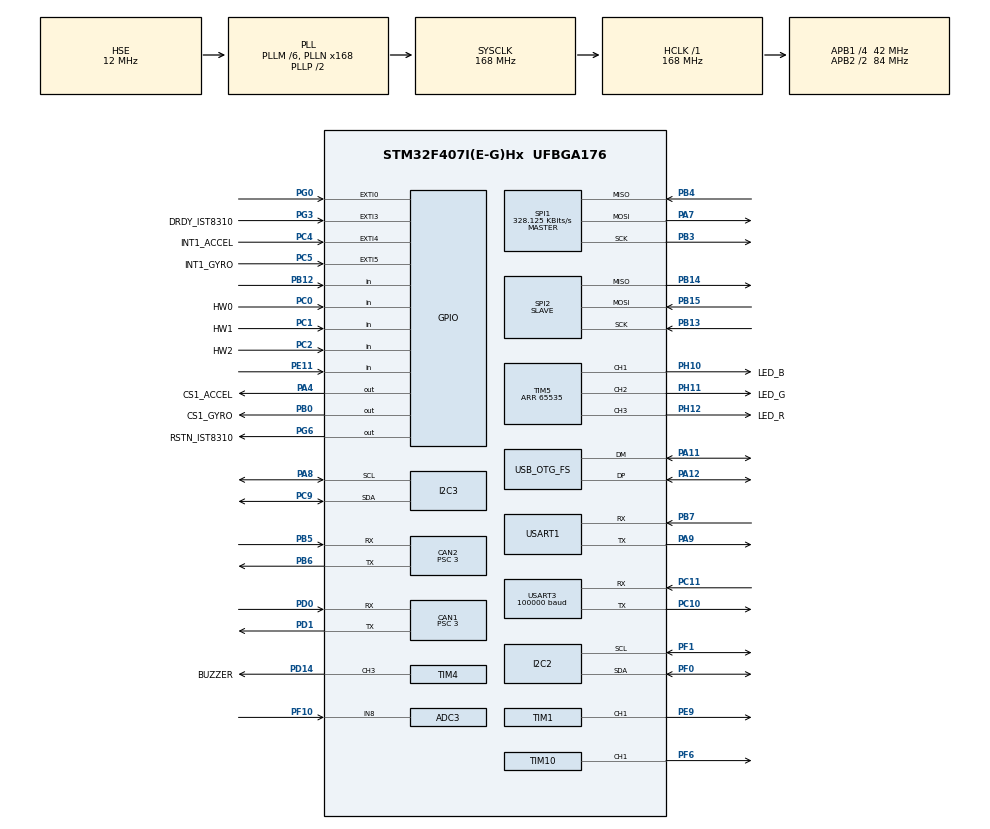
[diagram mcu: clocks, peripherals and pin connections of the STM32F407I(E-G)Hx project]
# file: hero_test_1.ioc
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ADC1.Channel-0\#ChannelRegularConversion=ADC_CHANNEL_TEMPSENSOR
ADC1.ClockPrescaler=ADC_CLOCK_SYNC_PCLK_DIV6
ADC1.NbrOfConversionFlag=1
ADC1.Rank-0\#ChannelRegularConversion=1
ADC1.SamplingTime-0\#ChannelRegularConversion=ADC_SAMPLETIME_3CYCLES
ADC1.master=1
ADC3.Channel-0\#ChannelRegularConversion=ADC_CHANNEL_8
ADC3.ClockPrescaler=ADC_CLOCK_SYNC_PCLK_DIV6
ADC3.NbrOfConversionFlag=1
ADC3.Rank-0\#ChannelRegularConversion=1
ADC3.SamplingTime-0\#ChannelRegularConversion=ADC_SAMPLETIME_3CYCLES
CAN1.BS1=CAN_BS1_10TQ
CAN1.BS2=CAN_BS2_3TQ
CAN1.CalculateBaudRate=1000000
CAN1.CalculateTimeBit=1000
CAN1.CalculateTimeQuantum=71.42857142857143
CAN1.Prescaler=3
CAN2.BS1=CAN_BS1_10TQ
CAN2.BS2=CAN_BS2_3TQ
CAN2.CalculateBaudRate=1000000
CAN2.CalculateTimeBit=1000
CAN2.CalculateTimeQuantum=71.42857142857143
CAN2.Prescaler=3
Dma.Request0=USART3_RX
Dma.Request1=SPI1_RX
Dma.Request2=SPI1_TX
Dma.Request3=USART1_RX
Dma.Request4=USART1_TX
Dma.SPI1_RX.1.Direction=DMA_PERIPH_TO_MEMORY
Dma.SPI1_RX.1.FIFOMode=DMA_FIFOMODE_DISABLE
Dma.SPI1_RX.1.Instance=DMA2_Stream2
Dma.SPI1_RX.1.MemDataAlignment=DMA_MDATAALIGN_BYTE
Dma.SPI1_RX.1.MemInc=DMA_MINC_ENABLE
Dma.SPI1_RX.1.Mode=DMA_NORMAL
Dma.SPI1_RX.1.PeriphDataAlignment=DMA_PDATAALIGN_BYTE
Dma.SPI1_RX.1.PeriphInc=DMA_PINC_DISABLE
Dma.SPI1_RX.1.Priority=DMA_PRIORITY_VERY_HIGH
Dma.SPI1_TX.2.Direction=DMA_MEMORY_TO_PERIPH
Dma.SPI1_TX.2.FIFOMode=DMA_FIFOMODE_DISABLE
Dma.SPI1_TX.2.Instance=DMA2_Stream3
Dma.SPI1_TX.2.MemDataAlignment=DMA_MDATAALIGN_BYTE
Dma.SPI1_TX.2.MemInc=DMA_MINC_ENABLE
Dma.SPI1_TX.2.Mode=DMA_NORMAL
Dma.SPI1_TX.2.PeriphDataAlignment=DMA_PDATAALIGN_BYTE
Dma.SPI1_TX.2.PeriphInc=DMA_PINC_DISABLE
Dma.SPI1_TX.2.Priority=DMA_PRIORITY_HIGH
Dma.USART1_RX.3.Direction=DMA_PERIPH_TO_MEMORY
Dma.USART1_RX.3.FIFOMode=DMA_FIFOMODE_DISABLE
Dma.USART1_RX.3.Instance=DMA2_Stream5
Dma.USART1_RX.3.MemDataAlignment=DMA_MDATAALIGN_BYTE
Dma.USART1_RX.3.MemInc=DMA_MINC_ENABLE
Dma.USART1_RX.3.Mode=DMA_NORMAL
Dma.USART1_RX.3.PeriphDataAlignment=DMA_PDATAALIGN_BYTE
Dma.USART1_RX.3.PeriphInc=DMA_PINC_DISABLE
Dma.USART1_RX.3.Priority=DMA_PRIORITY_LOW
Dma.USART1_TX.4.Direction=DMA_MEMORY_TO_PERIPH
Dma.USART1_TX.4.FIFOMode=DMA_FIFOMODE_DISABLE
Dma.USART1_TX.4.Instance=DMA2_Stream7
Dma.USART1_TX.4.MemDataAlignment=DMA_MDATAALIGN_BYTE
Dma.USART1_TX.4.MemInc=DMA_MINC_ENABLE
Dma.USART1_TX.4.Mode=DMA_NORMAL
Dma.USART1_TX.4.PeriphDataAlignment=DMA_PDATAALIGN_BYTE
Dma.USART1_TX.4.PeriphInc=DMA_PINC_DISABLE
Dma.USART1_TX.4.Priority=DMA_PRIORITY_LOW
Dma.USART3_RX.0.Direction=DMA_PERIPH_TO_MEMORY
Dma.USART3_RX.0.FIFOMode=DMA_FIFOMODE_DISABLE
Dma.USART3_RX.0.Instance=DMA1_Stream1
Dma.USART3_RX.0.MemDataAlignment=DMA_MDATAALIGN_BYTE
Dma.USART3_RX.0.MemInc=DMA_MINC_ENABLE
Dma.USART3_RX.0.Mode=DMA_CIRCULAR
Dma.USART3_RX.0.PeriphDataAlignment=DMA_PDATAALIGN_BYTE
Dma.USART3_RX.0.PeriphInc=DMA_PINC_DISABLE
Dma.USART3_RX.0.Priority=DMA_PRIORITY_VERY_HIGH
FREERTOS.INCLUDE_vTaskDelayUntil=1
FREERTOS.INCLUDE_xTaskGetHandle=1
FREERTOS.Tasks01=defaultTask,0,128,StartDefaultTask,Default,NULL,Dynamic,NULL,NULL
FREERTOS.configTOTAL_HEAP_SIZE=15360
I2C2.I2C_Mode=I2C_Fast
I2C3.I2C_Mode=I2C_Fast
Mcu.Family=STM32F4
Mcu.Name=STM32F407I(E-G)Hx
Mcu.Package=UFBGA176
NVIC.CAN1_RX0_IRQn=true\:6\:0\:true\:false\:true\:true\:true\:true\:true
NVIC.CAN2_RX0_IRQn=true\:5\:0\:false\:false\:true\:true\:true\:true\:true
NVIC.DMA1_Stream1_IRQn=true\:5\:0\:false\:false\:true\:true\:false\:true\:true
NVIC.DMA2_Stream2_IRQn=true\:5\:0\:false\:false\:false\:false\:false\:true\:true
NVIC.DMA2_Stream3_IRQn=true\:5\:0\:false\:false\:true\:true\:false\:true\:true
NVIC.DMA2_Stream5_IRQn=true\:5\:0\:false\:false\:true\:true\:false\:true\:true
NVIC.DMA2_Stream7_IRQn=true\:5\:0\:false\:false\:true\:true\:false\:true\:true
NVIC.EXTI0_IRQn=true\:6\:0\:true\:false\:true\:true\:true\:true\:true
NVIC.EXTI3_IRQn=true\:5\:0\:false\:false\:true\:true\:true\:true\:true
NVIC.EXTI4_IRQn=true\:5\:0\:false\:false\:true\:true\:true\:true\:true
NVIC.EXTI9_5_IRQn=true\:5\:0\:false\:false\:true\:true\:true\:true\:true
NVIC.OTG_FS_IRQn=true\:5\:0\:false\:false\:true\:true\:false\:true\:true
NVIC.PriorityGroup=NVIC_PRIORITYGROUP_4
NVIC.TIM7_IRQn=true\:15\:0\:false\:false\:true\:false\:false\:true\:true
NVIC.TimeBase=TIM7_IRQn
NVIC.TimeBaseIP=TIM7
NVIC.USART1_IRQn=true\:5\:0\:false\:false\:false\:true\:true\:true\:true
NVIC.USART3_IRQn=true\:5\:0\:false\:false\:false\:true\:true\:true\:true
PA11.Mode=Device_Only
PA11.Signal=USB_OTG_FS_DM
PA12.Mode=Device_Only
PA12.Signal=USB_OTG_FS_DP
PA13.Mode=Serial_Wire
PA13.Signal=SYS_JTMS-SWDIO
PA14.Mode=Serial_Wire
PA14.Signal=SYS_JTCK-SWCLK
PA4.GPIO_Label=CS1_ACCEL
PA4.GPIO_PuPd=GPIO_PULLUP
PA4.GPIO_Speed=GPIO_SPEED_FREQ_HIGH
PA4.PinState=GPIO_PIN_SET
PA4.Signal=GPIO_Output
PA7.GPIO_PuPd=GPIO_PULLUP
PA7.Mode=Full_Duplex_Master
PA7.Signal=SPI1_MOSI
PA8.Mode=I2C
PA8.Signal=I2C3_SCL
PA9.Mode=Asynchronous
PA9.Signal=USART1_TX
PB0.GPIO_Label=CS1_GYRO
PB0.GPIO_PuPd=GPIO_PULLUP
PB0.GPIO_Speed=GPIO_SPEED_FREQ_HIGH
PB0.PinState=GPIO_PIN_SET
PB0.Signal=GPIO_Output
PB12.GPIO_PuPd=GPIO_PULLUP
PB12.Signal=GPIO_Input
PB13.GPIO_PuPd=GPIO_PULLUP
PB13.Mode=Full_Duplex_Slave
PB13.Signal=SPI2_SCK
PB14.GPIO_PuPd=GPIO_PULLUP
PB14.Mode=Full_Duplex_Slave
PB14.Signal=SPI2_MISO
PB15.GPIO_PuPd=GPIO_PULLUP
PB15.Mode=Full_Duplex_Slave
PB15.Signal=SPI2_MOSI
PB3.GPIO_PuPd=GPIO_PULLUP
PB3.Mode=Full_Duplex_Master
PB3.Signal=SPI1_SCK
PB4.GPIO_PuPd=GPIO_PULLUP
PB4.Mode=Full_Duplex_Master
PB4.Signal=SPI1_MISO
PB5.Mode=CAN_Activate
PB5.Signal=CAN2_RX
PB6.Mode=CAN_Activate
PB6.Signal=CAN2_TX
PB7.Mode=Asynchronous
PB7.Signal=USART1_RX
PC0.GPIO_Label=HW0
PC0.Signal=GPIO_Input
PC1.GPIO_Label=HW1
PC1.Signal=GPIO_Input
PC10.Mode=Asynchronous
PC10.Signal=USART3_TX
PC11.Mode=Asynchronous
PC11.Signal=USART3_RX
PC2.GPIO_Label=HW2
PC2.Signal=GPIO_Input
PC4.GPIO_Label=INT1_ACCEL
PC4.GPIO_ModeDefaultEXTI=GPIO_MODE_IT_FALLING
PC4.GPIO_PuPd=GPIO_PULLUP
PC4.Signal=GPXTI4
PC5.GPIO_Label=INT1_GYRO
PC5.GPIO_ModeDefaultEXTI=GPIO_MODE_IT_FALLING
PC5.GPIO_PuPd=GPIO_PULLUP
PC5.Signal=GPXTI5
PC9.Mode=I2C
PC9.Signal=I2C3_SDA
PD0.Mode=CAN_Activate
PD0.Signal=CAN1_RX
PD1.Mode=CAN_Activate
PD1.Signal=CAN1_TX
PD14.GPIO_Label=BUZZER
PD14.GPIO_PuPd=GPIO_PULLUP
PD14.GPIO_Speed=GPIO_SPEED_FREQ_VERY_HIGH
PD14.Signal=S_TIM4_CH3
PE11.GPIO_PuPd=GPIO_PULLDOWN
PE11.Signal=GPIO_Input
PE9.Signal=S_TIM1_CH1
PF0.GPIO_Pu=GPIO_PULLUP
PF0.Mode=I2C
PF0.Signal=I2C2_SDA
PF1.GPIO_Pu=GPIO_PULLUP
PF1.Mode=I2C
PF1.Signal=I2C2_SCL
PF10.Mode=IN8
PF10.Signal=ADC3_IN8
PF6.GPIO_PuPd=GPIO_PULLUP
PF6.GPIO_Speed=GPIO_SPEED_FREQ_HIGH
PF6.Signal=S_TIM10_CH1
PG0.GPIO_PuPd=GPIO_PULLUP
PG0.Signal=GPXTI0
PG3.GPIO_Label=DRDY_IST8310
PG3.GPIO_PuPd=GPIO_PULLUP
PG3.Signal=GPXTI3
PG6.GPIO_Label=RSTN_IST8310
PG6.GPIO_PuPd=GPIO_PULLUP
PG6.GPIO_Speed=GPIO_SPEED_FREQ_MEDIUM
PG6.PinState=GPIO_PIN_SET
PG6.Signal=GPIO_Output
PH0-OSC_IN.Mode=HSE-External-Oscillator
PH0-OSC_IN.Signal=RCC_OSC_IN
PH1-OSC_OUT.Mode=HSE-External-Oscillator
PH1-OSC_OUT.Signal=RCC_OSC_OUT
PH10.GPIO_Label=LED_B
PH10.GPIO_PuPd=GPIO_PULLUP
PH10.GPIO_Speed=GPIO_SPEED_FREQ_HIGH
PH10.Signal=S_TIM5_CH1
PH11.GPIO_Label=LED_G
PH11.GPIO_PuPd=GPIO_PULLUP
PH11.GPIO_Speed=GPIO_SPEED_FREQ_HIGH
PH11.Signal=S_TIM5_CH2
PH12.GPIO_Label=LED_R
PH12.GPIO_PuPd=GPIO_PULLUP
PH12.GPIO_Speed=GPIO_SPEED_FREQ_HIGH
PH12.Signal=S_TIM5_CH3
ProjectManager.HeapSize=0x200
ProjectManager.StackSize=0x400
ProjectManager.TargetToolchain=MDK-ARM V5
RCC.48MHZClocksFreq_Value=48000000
RCC.AHBFreq_Value=168000000
RCC.APB1CLKDivider=RCC_HCLK_DIV4
RCC.APB1Freq_Value=42000000
RCC.APB1TimFreq_Value=84000000
RCC.APB2CLKDivider=RCC_HCLK_DIV2
RCC.APB2Freq_Value=84000000
RCC.APB2TimFreq_Value=168000000
RCC.CortexFreq_Value=168000000
RCC.HCLKFreq_Value=168000000
RCC.HSE_VALUE=12000000
RCC.HSI_VALUE=16000000
RCC.LSE_VALUE=32768
RCC.PLLM=6
RCC.PLLN=168
RCC.PLLQ=7
RCC.SYSCLKFreq_VALUE=168000000
RCC.SYSCLKSource=RCC_SYSCLKSOURCE_PLLCLK
RCC.VCOOutputFreq_Value=336000000
RTC.AsynchPrediv=124
SH.S_TIM10_CH1.0=TIM10_CH1,PWM Generation1 CH1
SH.S_TIM1_CH1.0=TIM1_CH1,PWM Generation1 CH1
SH.S_TIM4_CH3.0=TIM4_CH3,PWM Generation3 CH3
SH.S_TIM5_CH1.0=TIM5_CH1,PWM Generation1 CH1
SH.S_TIM5_CH2.0=TIM5_CH2,PWM Generation2 CH2
SH.S_TIM5_CH3.0=TIM5_CH3,PWM Generation3 CH3
SPI1.BaudRatePrescaler=SPI_BAUDRATEPRESCALER_256
SPI1.CLKPhase=SPI_PHASE_2EDGE
SPI1.CLKPolarity=SPI_POLARITY_HIGH
SPI1.CalculateBaudRate=328.125 KBits/s
SPI1.Direction=SPI_DIRECTION_2LINES
SPI1.Mode=SPI_MODE_MASTER
SPI1.VirtualType=VM_MASTER
SPI2.CLKPhase=SPI_PHASE_2EDGE
SPI2.CLKPolarity=SPI_POLARITY_HIGH
SPI2.Direction=SPI_DIRECTION_2LINES
SPI2.Mode=SPI_MODE_SLAVE
SPI2.VirtualType=VM_SLAVE
TIM1.AutoReloadPreload=TIM_AUTORELOAD_PRELOAD_ENABLE
TIM1.Channel-PWM\ Generation1\ CH1=TIM_CHANNEL_1
TIM1.Period=19999
TIM1.Prescaler=167
TIM1.Pulse-PWM\ Generation1\ CH1=5000
TIM10.Channel=TIM_CHANNEL_1
TIM10.Period=4999
TIM2.Period=65535
TIM2.Prescaler=83
TIM4.Channel-PWM\ Generation3\ CH3=TIM_CHANNEL_3
TIM4.Period=20999
TIM4.Prescaler=0
TIM5.Channel-PWM\ Generation1\ CH1=TIM_CHANNEL_1
TIM5.Channel-PWM\ Generation2\ CH2=TIM_CHANNEL_2
TIM5.Channel-PWM\ Generation3\ CH3=TIM_CHANNEL_3
TIM5.Period=65535
USART1.VirtualMode=VM_ASYNC
USART3.BaudRate=100000
USART3.Parity=PARITY_EVEN
USART3.VirtualMode=VM_ASYNC
USART3.WordLength=WORDLENGTH_9B
USB_DEVICE.CLASS_NAME_FS=CDC
USB_DEVICE.VirtualMode-CDC_FS=Cdc
USB_DEVICE.VirtualModeFS=Cdc_FS
USB_OTG_FS.VirtualMode=Device_Only
VP_ADC1_TempSens_Input.Mode=IN-TempSens
VP_FREERTOS_VS_CMSIS_V1.Mode=CMSIS_V1
VP_RTC_VS_RTC_Activate.Mode=RTC_Enabled
VP_SYS_VS_tim7.Mode=TIM7
VP_TIM10_VS_ClockSourceINT.Mode=Enable_Timer
VP_TIM1_VS_ClockSourceINT.Mode=Internal
VP_TIM2_VS_ClockSourceINT.Mode=Internal
VP_TIM4_VS_ClockSourceINT.Mode=Internal
VP_TIM5_VS_ClockSourceINT.Mode=Internal
VP_USB_DEVICE_VS_USB_DEVICE_CDC_FS.Mode=CDC_FS
board=custom

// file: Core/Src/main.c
/* USER CODE BEGIN Header */
/**
  ******************************************************************************
  * @file           : main.c
  * @brief          : Main program body
  ******************************************************************************
  * @attention
  *
  * <h2><center>&copy; Copyright (c) 2021 STMicroelectronics.
  * All rights reserved.</center></h2>
  *
  * This software component is licensed by ST under Ultimate Liberty license
  * SLA0044, the "License"; You may not use this file except in compliance with
  * the License. You may obtain a copy of the License at:
  *                             www.st.com/SLA0044
  *
  ******************************************************************************
  */
/* USER CODE END Header */
#include "main.h"
#include "cmsis_os.h"
#include "adc.h"
#include "can.h"
#include "dma.h"
#include "i2c.h"
#include "rtc.h"
#include "spi.h"
#include "tim.h"
#include "usart.h"
#include "usb_device.h"
#include "gpio.h"

/* USER CODE BEGIN Includes */
#include "remote_control.h"
#include "BMI088driver.h"
#include "BSP_can.h"
/* USER CODE END Includes */

/* USER CODE BEGIN PTD */
//#include "BSP_.h"
#include "calibrate_task.h"
#include "gimbal_task.h"
#include "chassis_task.h"
/* USER CODE END PTD */

void SystemClock_Config(void);
void MX_FREERTOS_Init(void);

/* USER CODE BEGIN 0 */
   	fp32 gyro[3], accel[3], temp;
/* USER CODE END 0 */

int main(void)
{

  /* MCU Configuration--------------------------------------------------------*/

  /* Reset of all peripherals, Initializes the Flash interface and the Systick. */
  HAL_Init();

  /* Configure the system clock */
  SystemClock_Config();

  /* Initialize all configured peripherals */
  MX_GPIO_Init();
  MX_TIM1_Init();
  MX_DMA_Init();
  MX_USART3_UART_Init();
  MX_TIM5_Init();
  MX_SPI1_Init();
  MX_CAN1_Init();
  MX_CAN2_Init();
  MX_TIM10_Init();
  MX_I2C3_Init();
  MX_SPI2_Init();
  MX_ADC1_Init();
  MX_ADC3_Init();
  MX_RTC_Init();
  MX_TIM4_Init();
  MX_I2C2_Init();
  MX_TIM2_Init();
  MX_USART1_UART_Init();
  /* USER CODE BEGIN 2 */
  __HAL_UART_ENABLE_IT(&huart1, UART_IT_RXNE);
	can_filter_init();
	remote_control_init();
	HAL_TIM_Base_Start(&htim4);
	HAL_TIM_PWM_Start(&htim4, TIM_CHANNEL_3);
	cali_param_init();
  /* USER CODE END 2 */

  /* Call init function for freertos objects (in freertos.c) */
  MX_FREERTOS_Init();

  /* Start scheduler */
  osKernelStart();

  /* We should never get here as control is now taken by the scheduler */
  /* Infinite loop */
  /* USER CODE BEGIN WHILE */
  while (1)
  {
//		 BMI088_read(gyro, accel, &temp);
//     HAL_Delay(10);
    /* USER CODE END WHILE */

  }
}

void SystemClock_Config(void)
{
  RCC_OscInitTypeDef RCC_OscInitStruct = {0};
  RCC_ClkInitTypeDef RCC_ClkInitStruct = {0};

  /** Configure the main internal regulator output voltage
  */
  __HAL_RCC_PWR_CLK_ENABLE();
  __HAL_PWR_VOLTAGESCALING_CONFIG(PWR_REGULATOR_VOLTAGE_SCALE1);

  /** Initializes the RCC Oscillators according to the specified parameters
  * in the RCC_OscInitTypeDef structure.
  */
  RCC_OscInitStruct.OscillatorType = RCC_OSCILLATORTYPE_LSI|RCC_OSCILLATORTYPE_HSE;
  RCC_OscInitStruct.HSEState = RCC_HSE_ON;
  RCC_OscInitStruct.LSIState = RCC_LSI_ON;
  RCC_OscInitStruct.PLL.PLLState = RCC_PLL_ON;
  RCC_OscInitStruct.PLL.PLLSource = RCC_PLLSOURCE_HSE;
  RCC_OscInitStruct.PLL.PLLM = 6;
  RCC_OscInitStruct.PLL.PLLN = 168;
  RCC_OscInitStruct.PLL.PLLP = RCC_PLLP_DIV2;
  RCC_OscInitStruct.PLL.PLLQ = 7;
  if (HAL_RCC_OscConfig(&RCC_OscInitStruct) != HAL_OK)
  {
    Error_Handler();
  }

  /** Initializes the CPU, AHB and APB buses clocks
  */
  RCC_ClkInitStruct.ClockType = RCC_CLOCKTYPE_HCLK|RCC_CLOCKTYPE_SYSCLK
                              |RCC_CLOCKTYPE_PCLK1|RCC_CLOCKTYPE_PCLK2;
  RCC_ClkInitStruct.SYSCLKSource = RCC_SYSCLKSOURCE_PLLCLK;
  RCC_ClkInitStruct.AHBCLKDivider = RCC_SYSCLK_DIV1;
  RCC_ClkInitStruct.APB1CLKDivider = RCC_HCLK_DIV4;
  RCC_ClkInitStruct.APB2CLKDivider = RCC_HCLK_DIV2;

  if (HAL_RCC_ClockConfig(&RCC_ClkInitStruct, FLASH_LATENCY_5) != HAL_OK)
  {
    Error_Handler();
  }
}

/* USER CODE BEGIN 4 */
typedef union
{
    float fdata;
    unsigned long ldata;
}FloatLongType;
void Float_to_Byte(float f,unsigned char byte[])
{
    FloatLongType fl;
    fl.fdata=f;
    byte[0]=(unsigned char)fl.ldata;
    byte[1]=(unsigned char)(fl.ldata>>8);
    byte[2]=(unsigned char)(fl.ldata>>16);
    byte[3]=(unsigned char)(fl.ldata>>24);
}
/* USER CODE END 4 */

void HAL_TIM_PeriodElapsedCallback(TIM_HandleTypeDef *htim)
{
  if (htim->Instance == TIM7) {
    HAL_IncTick();
  }
}

void Error_Handler(void)
{
  __disable_irq();
  while (1)
  {
  }
}

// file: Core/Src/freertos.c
/* USER CODE BEGIN Header */
/**
  ******************************************************************************
  * File Name          : freertos.c
  * Description        : Code for freertos applications
  ******************************************************************************
  * @attention
  *
  * <h2><center>&copy; Copyright (c) 2021 STMicroelectronics.
  * All rights reserved.</center></h2>
  *
  * This software component is licensed by ST under Ultimate Liberty license
  * SLA0044, the "License"; You may not use this file except in compliance with
  * the License. You may obtain a copy of the License at:
  *                             www.st.com/SLA0044
  *
  ******************************************************************************
  */
/* USER CODE END Header */

#include "FreeRTOS.h"
#include "task.h"
#include "main.h"
#include "cmsis_os.h"

/* USER CODE BEGIN Includes */
//#include "led_flow_task.h"
#include "INS_task.h"
#include "chassis_task.h"
#include "judge_task.h"
#include "Revolver_task.h"
#include "gimbal_task.h"
#include "calibrate_task.h"
#include "communicate.h"
#include "detect_task.h"
#include "monitor_task.h"
#include "ui_task.h"
#include "OLED_task.h"
#include "load_task.h"
#include "screen_task.h"
/* USER CODE END Includes */

/* USER CODE BEGIN Variables */
osThreadId chassisTaskHandle;
osThreadId imuTaskHandle;
osThreadId judgeTaskHandle;
osThreadId revolverTaskHandle;
osThreadId loadTaskHandle;
osThreadId gimbalTaskHandle;
osThreadId SYSTEMHandle;
osThreadId calibrate_tast_handle;
osThreadId communiTask_handel;
osThreadId detect_handle;
osThreadId monitor_handle;
osThreadId ui_handle;
osThreadId oledTaskHandle;
osThreadId screenTaskHandle;
/* USER CODE END Variables */
osThreadId defaultTaskHandle;

void StartDefaultTask(void const * argument);

extern void MX_USB_DEVICE_Init(void);
void MX_FREERTOS_Init(void); /* (MISRA C 2004 rule 8.1) */

/* GetIdleTaskMemory prototype (linked to static allocation support) */
void vApplicationGetIdleTaskMemory( StaticTask_t **ppxIdleTaskTCBBuffer, StackType_t **ppxIdleTaskStackBuffer, uint32_t *pulIdleTaskStackSize );

/* USER CODE BEGIN GET_IDLE_TASK_MEMORY */
static StaticTask_t xIdleTaskTCBBuffer;
static StackType_t xIdleStack[configMINIMAL_STACK_SIZE];

void vApplicationGetIdleTaskMemory( StaticTask_t **ppxIdleTaskTCBBuffer, StackType_t **ppxIdleTaskStackBuffer, uint32_t *pulIdleTaskStackSize )
{
  *ppxIdleTaskTCBBuffer = &xIdleTaskTCBBuffer;
  *ppxIdleTaskStackBuffer = &xIdleStack[0];
  *pulIdleTaskStackSize = configMINIMAL_STACK_SIZE;
  /* place for user code */
}
/* USER CODE END GET_IDLE_TASK_MEMORY */

void MX_FREERTOS_Init(void) {

  /* Create the thread(s) */
  /* definition and creation of defaultTask */
  osThreadDef(defaultTask, StartDefaultTask, osPriorityNormal, 0, 128);
  defaultTaskHandle = osThreadCreate(osThread(defaultTask), NULL);

  /* USER CODE BEGIN RTOS_THREADS */
  /* add threads, ... */

	osThreadDef(monitor, monitor_task, osPriorityNormal, 0, 128);
  monitor_handle = osThreadCreate(osThread(monitor), NULL);

	osThreadDef(RevolverTask, revolver_task, osPriorityAboveNormal, 0, 512);//
  revolverTaskHandle = osThreadCreate(osThread(RevolverTask), NULL);

  osThreadDef(loadTask, load_task, osPriorityAboveNormal, 0, 512);
  loadTaskHandle = osThreadCreate(osThread(loadTask), NULL);

	// osThreadDef(ChassisTask, chassis_task, osPriorityAboveNormal, 0, 512);
  // chassisTaskHandle = osThreadCreate(osThread(ChassisTask), NULL);

	// osThreadDef(imuTask, INS_task, osPriorityRealtime, 0, 512);
  // imuTaskHandle = osThreadCreate(osThread(imuTask), NULL);

	// osThreadDef(gimbalTask, gimbal_task, osPriorityHigh, 0, 512);
  // gimbalTaskHandle = osThreadCreate(osThread(gimbalTask), NULL);

	osThreadDef(SYSTEM, system_task, osPriorityHigh, 0, 128);
  SYSTEMHandle = osThreadCreate(osThread(SYSTEM), NULL);

	osThreadDef(Judge, Judge_Task, osPriorityHigh , 0, 128);
  judgeTaskHandle = osThreadCreate(osThread(Judge), NULL);

	// osThreadDef(cali, calibrate_task, osPriorityNormal, 0, 128);
  // calibrate_tast_handle = osThreadCreate(osThread(cali), NULL);

	// osThreadDef(communicateTask, communi_task, osPriorityHigh, 0, 128);
  // communiTask_handel = osThreadCreate(osThread(communicateTask), NULL);

	osThreadDef(DETECT, detect_task, osPriorityNormal, 0, 128);
	detect_handle = osThreadCreate(osThread(DETECT), NULL);

  // osThreadDef(ui, ui_task, osPriorityNormal, 0, 256);
	// ui_handle = osThreadCreate(osThread(ui), NULL);

  // osThreadDef(oledTask, OLED_task, osPriorityNormal, 0, 256);
  // oledTaskHandle = osThreadCreate(osThread(oledTask), NULL);

  osThreadDef(screenTask, screen_task, osPriorityNormal, 0, 256);
  screenTaskHandle = osThreadCreate(osThread(screenTask), NULL);

  /* USER CODE END RTOS_THREADS */

}

void StartDefaultTask(void const * argument)
{
  /* init code for USB_DEVICE */
  MX_USB_DEVICE_Init();
  for(;;)
  {
    osDelay(1);
  }
}
